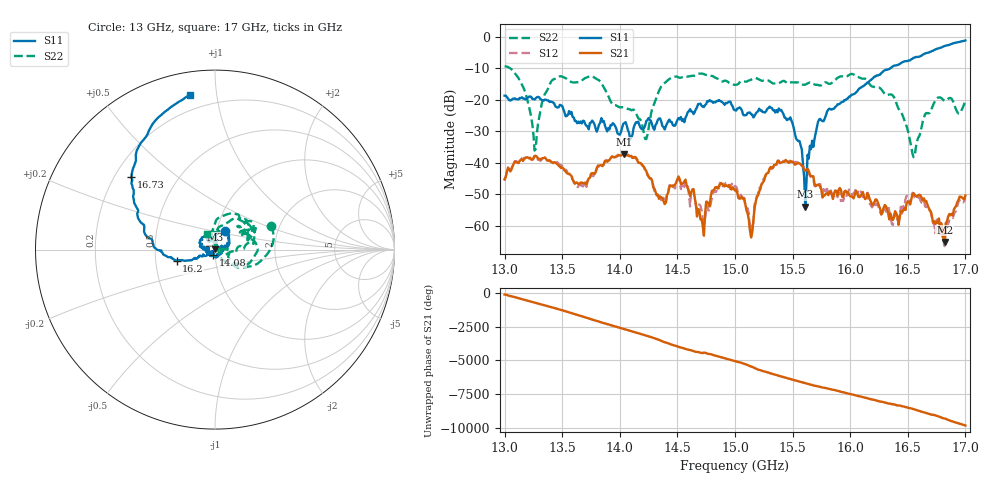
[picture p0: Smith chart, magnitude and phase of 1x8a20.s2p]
!Keysight Technologies,P9374A,MY57211807,A.19.30.04
!Date: Friday, May 08, 2026 14:12:01
!Correction: S11(C  2-Port  )
!S21(C  2-Port  )
!S12(C  2-Port  )
!S22(C  2-Port  )
!S2P File: Measurements: S11, S21, S12, S22:
# Hz S  dB  R 50
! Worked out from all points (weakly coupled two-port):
!   401 points, 13 GHz to 17 GHz, reference 50 ohm
!   highest |S21| = -37.27 dB at 14.04 GHz (marker M1); lowest = -65.1 dB at 16.82 GHz (marker M2)
!   lowest |S11| = -53.9 dB at 15.61 GHz (marker M3), VSWR 1.00, Z = 49.8 + j0.0675 ohm
!   |S11| at or under -10 dB: start of sweep to 16.35 GHz
!   |S22| runs from -38.2 to -9.4 dB; largest |S21 - S12| = 0.0016
!   S11 on the Smith chart (normalised r, x): 13 GHz: 1.10, +0.23; 14.08 GHz: 0.98, -0.05; 16.2 GHz: 0.64, -0.08; 16.73 GHz: 0.27, +0.35; 17 GHz: 0.12, +0.84
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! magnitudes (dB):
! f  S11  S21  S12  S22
! 13 GHz  -18.7  -45.1  -45.7  -9.4
! 13.16 GHz  -19.6  -39.4  -39.2  -15.9
! 13.26 GHz  -19.9  -37.8  -37.9  -36.1
! 13.41 GHz  -20.6  -39.8  -39.8  -13.9
! 13.67 GHz  -27.5  -46.2  -46.9  -13.9
! 14.04 GHz  -27.4  -37.3  -37.0  -22.5
! 14.08 GHz  -30.3  -37.8  -37.5  -23.0
! 14.23 GHz  -26.7  -42.6  -42.6  -32.5
! 14.34 GHz  -25.9  -51.4  -51.0  -17.2
! 14.56 GHz  -27.1  -45.9  -47.6  -12.6
! 14.72 GHz  -22.2  -60.0  -57.9  -11.7
! 15 GHz  -23.3  -48.7  -47.5  -15.3
! 15.14 GHz  -24.6  -63.6  -59.9  -13.6
! 15.4 GHz  -23.2  -39.9  -40.2  -14.3
! 15.61 GHz  -53.9  -42.5  -42.3  -15.2
! 15.67 GHz  -32.9  -44.2  -44.7  -14.7
! 16.2 GHz  -13.1  -53.1  -53.2  -15.8
! 16.34 GHz  -10.2  -57.9  -55.3  -18.3
! 16.55 GHz  -6.7  -49.6  -49.9  -38.2
! 16.73 GHz  -4.2  -58.5  -59.5  -20.8
! 16.82 GHz  -2.9  -65.1  -66.4  -20.3
! 17 GHz  -1.2  -50.3  -51.0  -20.3
